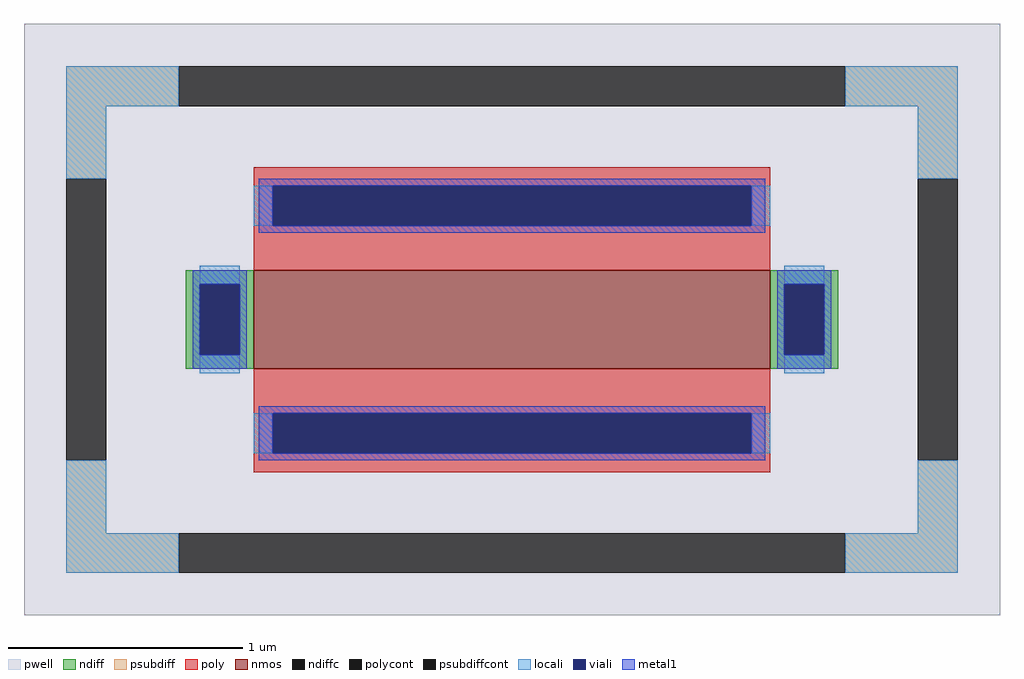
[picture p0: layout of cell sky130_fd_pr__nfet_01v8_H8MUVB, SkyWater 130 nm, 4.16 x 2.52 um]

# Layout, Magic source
magic
tech sky130A
<< pwell >>
rect -208 -126 208 126
<< nmos >>
rect -110 -21 110 21
<< ndiff >>
rect -139 15 -110 21
rect -139 -15 -133 15
rect -116 -15 -110 15
rect -139 -21 -110 -15
rect 110 15 139 21
rect 110 -15 116 15
rect 133 -15 139 15
rect 110 -21 139 -15
<< ndiffc >>
rect -133 -15 -116 15
rect 116 -15 133 15
<< psubdiff >>
rect -190 91 -142 108
rect 142 91 190 108
rect -190 60 -173 91
rect 173 60 190 91
rect -190 -91 -173 -60
rect 173 -91 190 -60
rect -190 -108 -142 -91
rect 142 -108 190 -91
<< psubdiffcont >>
rect -142 91 142 108
rect -190 -60 -173 60
rect 173 -60 190 60
rect -142 -108 142 -91
<< poly >>
rect -110 57 110 65
rect -110 40 -102 57
rect 102 40 110 57
rect -110 21 110 40
rect -110 -40 110 -21
rect -110 -57 -102 -40
rect 102 -57 110 -40
rect -110 -65 110 -57
<< polycont >>
rect -102 40 102 57
rect -102 -57 102 -40
<< locali >>
rect -190 91 -142 108
rect 142 91 190 108
rect -190 60 -173 91
rect 173 60 190 91
rect -110 40 -102 57
rect 102 40 110 57
rect -133 15 -116 23
rect -133 -23 -116 -15
rect 116 15 133 23
rect 116 -23 133 -15
rect -110 -57 -102 -40
rect 102 -57 110 -40
rect -190 -91 -173 -60
rect 173 -91 190 -60
rect -190 -108 -142 -91
rect 142 -108 190 -91
<< viali >>
rect -102 40 102 57
rect -133 -15 -116 15
rect 116 -15 133 15
rect -102 -57 102 -40
<< metal1 >>
rect -108 57 108 60
rect -108 40 -102 57
rect 102 40 108 57
rect -108 37 108 40
rect -136 15 -113 21
rect -136 -15 -133 15
rect -116 -15 -113 15
rect -136 -21 -113 -15
rect 113 15 136 21
rect 113 -15 116 15
rect 133 -15 136 15
rect 113 -21 136 -15
rect -108 -40 108 -37
rect -108 -57 -102 -40
rect 102 -57 108 -40
rect -108 -60 108 -57
<< properties >>
string FIXED_BBOX -181 -99 181 99
string gencell sky130_fd_pr__nfet_01v8
string library sky130
string parameters w 0.42 l 2.2 m 1 nf 1 diffcov 100 polycov 100 guard 1 glc 1 grc 1 gtc 1 gbc 1 tbcov 100 rlcov 100 topc 1 botc 1 poverlap 0 doverlap 1 lmin 0.15 wmin 0.42 compatible {sky130_fd_pr__nfet_01v8 sky130_fd_pr__nfet_01v8_lvt  sky130_fd_bs_flash__special_sonosfet_star  sky130_fd_pr__nfet_g5v0d10v5 sky130_fd_pr__nfet_05v0_nvt  sky130_fd_pr__nfet_03v3_nvt} full_metal 1 viasrc 100 viadrn 100 viagate 100 viagb 0 viagr 0 viagl 0 viagt 0
<< end >>
